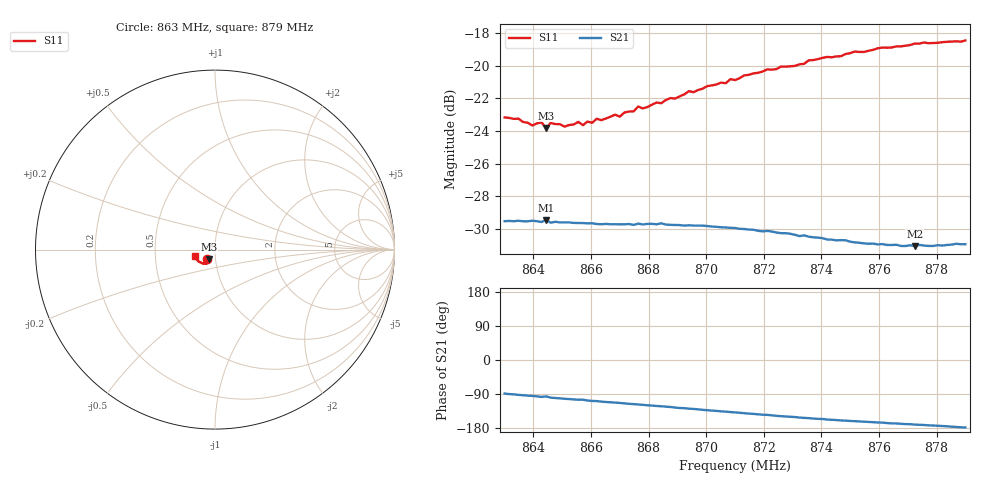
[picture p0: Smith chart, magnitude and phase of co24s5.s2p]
# HZ S RI R 50
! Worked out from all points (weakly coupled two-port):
!   101 points, 863 MHz to 879 MHz, reference 50 ohm
!   highest |S21| = -29.46 dB at 864.44 MHz (marker M1); lowest = -31.1 dB at 877.24 MHz (marker M2)
!   lowest |S11| = -23.8 dB at 864.44 MHz (marker M3), VSWR 1.14, Z = 46.5 - j5.12 ohm
!   |S11| at or under -10 dB: start of sweep to end of sweep
!   S12 and S22 are empty: the file has one direction only
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8.63e8  -0.0432 -0.0542  0.000845 -0.0334  0 0  0 0
8.6348e8  -0.0408 -0.0554  -0.00121 -0.0335  0 0  0 0
8.6396e8  -0.0371 -0.054  -0.00276 -0.0334  0 0  0 0
8.6428e8  -0.0369 -0.0559  -0.00427 -0.0329  0 0  0 0
8.6444e8  -0.0338 -0.0549  -0.00355 -0.0335  0 0  0 0
8.646e8  -0.0371 -0.0554  -0.00536 -0.0326  0 0  0 0
8.6508e8  -0.0335 -0.0557  -0.00702 -0.0323  0 0  0 0
8.6556e8  -0.034 -0.058  -0.00845 -0.0319  0 0  0 0
8.6572e8  -0.0348 -0.0557  -0.00838 -0.0319  0 0  0 0
8.662e8  -0.0334 -0.06  -0.0103 -0.031  0 0  0 0
8.6684e8  -0.0331 -0.0625  -0.0125 -0.0302  0 0  0 0
8.67e8  -0.0331 -0.0614  -0.0129 -0.03  0 0  0 0
8.6764e8  -0.0345 -0.0665  -0.0151 -0.0291  0 0  0 0
8.678e8  -0.0341 -0.0656  -0.0155 -0.0287  0 0  0 0
8.6844e8  -0.0355 -0.0679  -0.0175 -0.0279  0 0  0 0
8.694e8  -0.0404 -0.0731  -0.0202 -0.0254  0 0  0 0
8.71e8  -0.0483 -0.0762  -0.0238 -0.0212  0 0  0 0
8.7212e8  -0.0582 -0.078  -0.0255 -0.018  0 0  0 0
8.7372e8  -0.07 -0.0768  -0.0269 -0.0128  0 0  0 0
8.7644e8  -0.0954 -0.0616  -0.0275 -0.00622  0 0  0 0
8.7724e8  -0.1022 -0.0563  -0.0276 -0.00466  0 0  0 0
8.79e8  -0.1134 -0.0372  -0.0284 -0.00095  0 0  0 0
